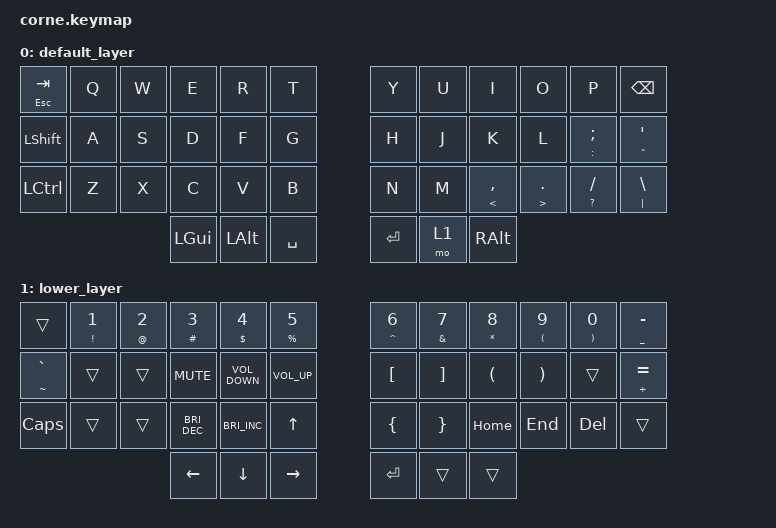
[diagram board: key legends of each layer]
/*
 * Copyright (c) 2020 The ZMK Contributors
 *
 * SPDX-License-Identifier: MIT
 */

#include <behaviors.dtsi>
#include <dt-bindings/zmk/keys.h>

/ {
    combos {
        compatible = "zmk,combos";

        Escape {
            bindings = <&kp ESC>;
            key-positions = <0 11>;
        };

        OpenParenthesis {
            bindings = <&kp LEFT_PARENTHESIS>;
            key-positions = <6 7>;
        };

        OpenBrace {
            bindings = <&kp LEFT_BRACE>;
            key-positions = <18 19>;
        };

        OpenBracket {
            bindings = <&kp LEFT_BRACKET>;
            key-positions = <30 31>;
        };

        CloseParenthasis {
            bindings = <&kp RIGHT_PARENTHESIS>;
            key-positions = <8 7>;
        };

        CloseBrace {
            bindings = <&kp RIGHT_BRACE>;
            key-positions = <19 20>;
        };

        CloseBracket {
            bindings = <&kp RIGHT_BRACKET>;
            key-positions = <31 32>;
        };

        LessThan {
            bindings = <&kp LESS_THAN>;
            key-positions = <3 4>;
        };

        GreatherThan {
            bindings = <&kp GREATER_THAN>;
            key-positions = <4 5>;
        };

        Enter {
            bindings = <&kp ENTER>;
            key-positions = <38 39>;
        };
    };

    macros {
        new_macro: new_macro {
            compatible = "zmk,behavior-macro";
            #binding-cells = <0>;
            bindings = <&none>;
            label = "NEW_MACRO";
        };
    };

    keymap {
        compatible = "zmk,keymap";

        default_layer {
            // -----------------------------------------------------------------------------------------
            // |  TAB |  Q  |  W  |  E  |  R  |  T  |   |  Y  |  U   |  I  |  O  |  P  | BSPC |
            // | SHFT |  A  |  S  |  D  |  F  |  G  |   |  H  |  J   |  K  |  L  |  ;  | ENTR |
            // | CTRL |  Z  |  X  |  C  |  V  |  B  |   |  N  |  M   | ./, | '/" |  /* | EQU |
            //                    | GUI | LWR | SPC |   | SPC | L2   | L1  |

            bindings = <
&mt ESCAPE TAB  &kp Q  &kp W  &kp E     &kp R         &kp T        &kp Y      &kp U  &kp I                &kp O                    &kp P                &kp BSPC
&kp LEFT_SHIFT  &kp A  &kp S  &kp D     &kp F         &kp G        &kp H      &kp J  &kp K                &kp L                    &mt COLON SEMICOLON  &mt DOUBLE_QUOTES SQT
&kp LCTRL       &kp Z  &kp X  &kp C     &kp V         &kp B        &kp N      &kp M  &mt LESS_THAN COMMA  &mt GREATER_THAN PERIOD  &mt QUESTION SLASH   &mt PIPE BACKSLASH
                              &kp LGUI  &kp LEFT_ALT  &kp SPACE    &kp ENTER  &mo 1  &kp RIGHT_ALT
            >;
        };

        lower_layer {
            // -----------------------------------------------------------------------------------------
            // | SYSR |     |     |     |     |     |   |     |  1  |  2  |  3  |  0  |      |
            // |      |     |     | UP  |     |     |   |     |  4  |  5  |  6  |     |      |
            // |      |     | LFT | DWN | RGT |     |   |     |  7  |  8  |  9  |     |      |
            //                    |     |     | SPC |   | SPC |     |     |

            bindings = <
&trans           &mt EXCLAMATION NUMBER_1  &mt AT_SIGN NUMBER_2  &mt HASH NUMBER_3     &mt DOLLAR NUMBER_4   &mt PERCENT N5     &mt CARET NUMBER_6  &mt AMPERSAND N7   &mt ASTERISK N8       &mt LEFT_PARENTHESIS N9  &mt RIGHT_PARENTHESIS N0  &mt UNDERSCORE MINUS
&mt TILDE GRAVE  &trans                    &trans                &kp K_MUTE            &kp C_VOLUME_DOWN     &kp C_VOLUME_UP    &kp LEFT_BRACKET    &kp RIGHT_BRACKET  &kp LEFT_PARENTHESIS  &kp RIGHT_PARENTHESIS    &trans                    &mt PLUS EQUAL
&kp CAPS         &trans                    &trans                &kp C_BRIGHTNESS_DEC  &kp C_BRIGHTNESS_INC  &kp UP_ARROW       &kp LEFT_BRACE      &kp RIGHT_BRACE    &kp HOME              &kp END                  &kp DELETE                &trans
                                                                 &kp LEFT_ARROW        &kp DOWN_ARROW        &kp RIGHT_ARROW    &kp ENTER           &trans             &trans
            >;
        };
    };
};

//For new Layers
// -----------------------------------------------------------------------------------------
// |      |     |     |     |     |     |   |     |     |     |     |     |      |
// |      |     |     |     |     |     |   |     |     |     |     |     |      |
// |      |     |     |     |     |     |   |     |     |     |     |     |      |
//                    |     |     |     |   |     |     |     |
